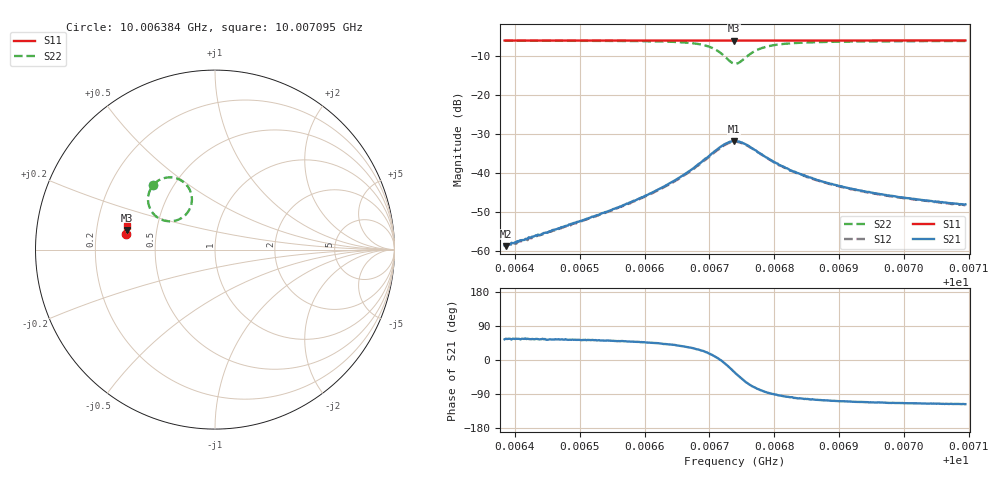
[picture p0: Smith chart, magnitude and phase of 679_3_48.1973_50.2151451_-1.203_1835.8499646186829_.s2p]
#  HZ  S  RI  R  50.00
! Rohde & Schwarz Vector Network Analyzer
! Rohde-Schwarz,ZNB20-2Port,1311601062101988,3.16
! Created: UTC 3/20/2024, 12:06:34 PM
! freq[Hz]  re:S11  im:S11  re:S21  im:S21  re:S12  im:S12  re:S22  im:S22
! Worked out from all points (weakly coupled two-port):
!   401 points, 10.006384 GHz to 10.007095 GHz, reference 50 ohm
!   highest |S21| = -31.81 dB at 10.006738 GHz (marker M1); lowest = -58.8 dB at 10.006386 GHz (marker M2)
!   lowest |S11| = -6.0 dB at 10.006738 GHz (marker M3), VSWR 3.02, Z = 16.7 + j4.79 ohm
!   |S11| at or under -10 dB: nowhere
!   |S22| runs from -11.9 to -6.0 dB; largest |S21 - S12| = 0.002
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1.00063842e10  -0.4969 0.0849  0.000676 0.000951  0.000599 0.00101  -0.3447 0.3625
1.0006386e10  -0.497 0.085  0.000645 0.000956  0.000605 0.00097  -0.3443 0.3627
1.00063984e10  -0.4968 0.0859  0.000703 0.00104  0.000634 0.00109  -0.3433 0.3639
1.00065033e10  -0.4957 0.093  0.00147 0.00191  0.00133 0.00199  -0.3294 0.3755
1.00065743e10  -0.4948 0.0976  0.00265 0.00304  0.00244 0.00314  -0.3124 0.3867
1.00066223e10  -0.494 0.1009  0.00443 0.00432  0.00416 0.00443  -0.2906 0.3961
1.00066596e10  -0.4935 0.1035  0.00755 0.00549  0.0071 0.00575  -0.2575 0.4024
1.00066952e10  -0.4924 0.1059  0.0145 0.00544  0.0138 0.00595  -0.192 0.3871
1.00067094e10  -0.4915 0.1067  0.019 0.00288  0.0184 0.00386  -0.1541 0.3547
1.00067218e10  -0.4909 0.107  0.0228 -0.00245  0.0223 -0.000899  -0.13 0.2981
1.00067378e10  -0.4905 0.1069  0.022 -0.0133  0.0225 -0.0113  -0.1576 0.2009
1.00067396e10  -0.4906 0.1069  0.0213 -0.0143  0.0219 -0.0125  -0.1658 0.192
1.00067467e10  -0.4908 0.1069  0.018 -0.0176  0.0186 -0.0162  -0.206 0.1661
1.00067556e10  -0.4912 0.1071  0.0127 -0.0197  0.0139 -0.0185  -0.2587 0.1577
1.0006768e10  -0.4917 0.1077  0.00666 -0.0191  0.00771 -0.0186  -0.315 0.1756
1.00067823e10  -0.4919 0.109  0.0025 -0.0168  0.00338 -0.0165  -0.3497 0.208
1.00068036e10  -0.492 0.1105  -0.000311 -0.0133  0.000179 -0.0132  -0.3691 0.2487
1.00068267e10  -0.4919 0.1124  -0.00151 -0.0106  -0.00108 -0.0106  -0.3733 0.2781
1.00068587e10  -0.4916 0.1145  -0.00199 -0.00836  -0.00159 -0.00824  -0.3708 0.3031
1.00069102e10  -0.4909 0.118  -0.00212 -0.00614  -0.00181 -0.00616  -0.3642 0.3257
1.00069777e10  -0.4902 0.1225  -0.00201 -0.0047  -0.0017 -0.00472  -0.3563 0.3421
1.0007095e10  -0.4885 0.13  -0.00176 -0.00353  -0.00158 -0.00353  -0.3457 0.358
